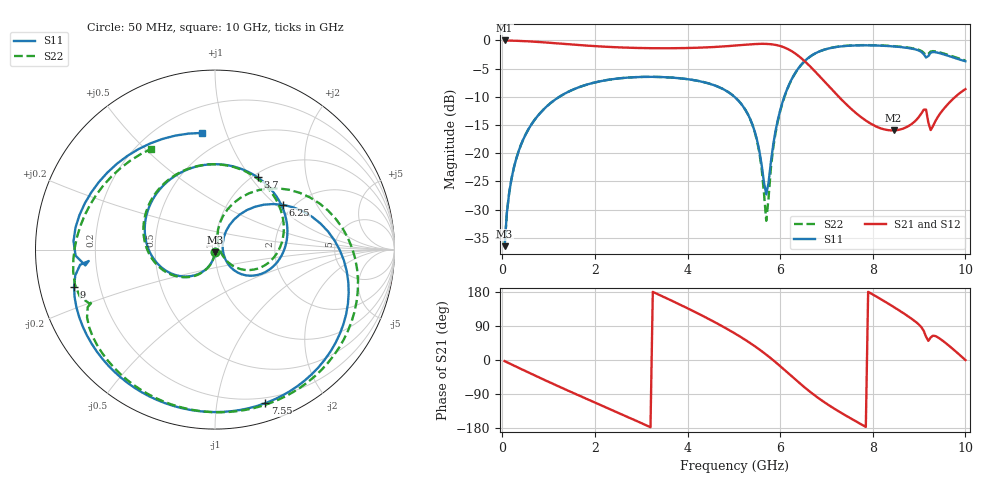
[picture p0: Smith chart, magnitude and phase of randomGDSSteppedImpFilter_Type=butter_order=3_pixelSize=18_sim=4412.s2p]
! freq	dB(S11)	phase(S11)	dB(S12)	phase(S12)
!  dB(S21)	phase(S21)	dB(S22)	phase(S22)
!S-par simulation data
#  GHz  S  DB  R 50
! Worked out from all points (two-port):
!   200 points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, 50 MHz to 10 GHz, reference 50 ohm
!   highest |S21| = 0.00 dB at 50 MHz (marker M1); lowest = -16.0 dB at 8.45 GHz (marker M2)
!   |S21| within 3 dB of the highest: start of sweep to 6.435 GHz
!   lowest |S11| = -36.5 dB at 50 MHz (marker M3), VSWR 1.03, Z = 49.9 - j1.5 ohm
!   |S11| at or under -10 dB: start of sweep to 1.23 GHz; 5.014 GHz to 6.089 GHz (1.075 GHz wide, 19.4 % of centre)
!   |S22| runs from -36.5 to -0.8 dB; largest |S21 - S12| = 0
!   S11 on the Smith chart (normalised r, x): 50 MHz: 1.00, -0.03; 3.7 GHz: 1.05, +1.08; 6.25 GHz: 1.78, +1.12; 7.55 GHz: 0.15, -1.37; 9 GHz: 0.11, -0.13; 10 GHz: 0.36, +0.82
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0.05  -36.47 -92.8  -0.00 -3.0  -0.00 -3.0  -36.47 -92.7
0.2  -24.47 -102.1  -0.04 -11.8  -0.04 -11.8  -24.47 -101.7
0.5  -16.73 -120.2  -0.13 -29.2  -0.13 -29.2  -16.73 -119.3
1.1  -10.73 -154.8  -0.46 -63.2  -0.46 -63.2  -10.73 -152.8
1.75  -8.02 168.8  -0.87 -98.8  -0.87 -98.8  -8.02 172.3
2.65  -6.62 119.2  -1.27 -147.2  -1.27 -147.2  -6.62 125.1
3.4  -6.48 76.9  -1.39 171.3  -1.39 171.3  -6.48 85.1
3.7  -6.61 59.5  -1.38 154.1  -1.38 154.1  -6.61 68.5
4.45  -7.61 14.2  -1.22 108.7  -1.22 108.7  -7.61 24.8
5.05  -10.27 -24.2  -0.90 68.1  -0.90 68.1  -10.26 -13.8
5.5  -17.61 -48.4  -0.62 32.3  -0.62 32.3  -17.77 -42.7
5.7  -27.29 3.2  -0.61 14.2  -0.61 14.2  -31.98 10.5
5.9  -16.05 59.4  -0.79 -5.7  -0.79 -5.7  -16.41 79.6
6.25  -6.85 33.3  -1.91 -43.0  -1.91 -43.0  -6.91 48.9
6.7  -2.57 -9.3  -5.04 -89.0  -5.04 -89.0  -2.58 5.0
7.05  -1.42 -37.8  -8.11 -119.2  -8.11 -119.2  -1.40 -24.0
7.55  -0.91 -71.8  -12.25 -155.9  -12.25 -155.9  -0.88 -58.2
8.35  -1.00 -120.2  -15.92 147.7  -15.92 147.7  -0.95 -105.9
8.45  -1.06 -126.4  -15.95 140.1  -15.95 140.1  -1.01 -111.9
9  -1.81 -165.3  -13.52 93.1  -13.52 93.1  -1.68 -148.3
9.45  -2.27 160.4  -13.01 56.2  -13.01 56.2  -2.13 179.6
10  -3.69 96.5  -8.64 -0.1  -8.64 -0.1  -3.55 122.2
